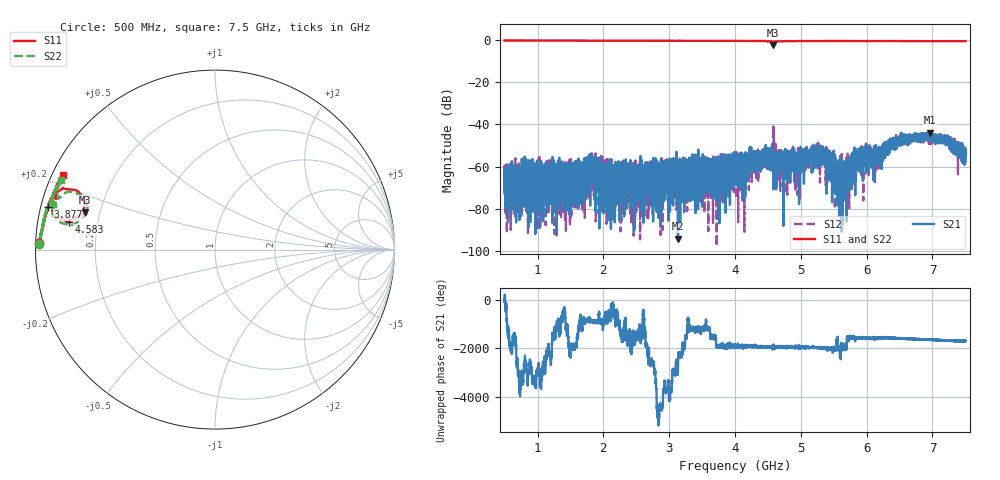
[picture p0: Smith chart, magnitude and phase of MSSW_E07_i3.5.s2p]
!Keysight Technologies,M9374A,MY55442783,A.12.55.05
!Date: Thursday, May 20, 2021 17:08:04
!Correction: S11(Full 2 Port(1,2))
!S21(Full 2 Port(1,2))
!S12(Full 2 Port(1,2))
!S22(Full 2 Port(1,2))
!S2P File: Measurements: S11, S21, S12, S22:
# Hz S  RI  R 50
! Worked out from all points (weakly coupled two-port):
!   7001 points, 500 MHz to 7.5 GHz, reference 50 ohm
!   highest |S21| = -43.89 dB at 6.956 GHz (marker M1); lowest = -94.3 dB at 3.134 GHz (marker M2)
!   lowest |S11| = -2.4 dB at 4.574 GHz (marker M3), VSWR 7.14, Z = 7.14 + j6.92 ohm
!   |S11| at or under -10 dB: nowhere
!   |S22| runs from -2.6 to -0.2 dB; largest |S21 - S12| = 0.0087
!   S11 on the Smith chart (normalised r, x): 500 MHz: 0.01, +0.02; 3.877 GHz: 0.02, +0.13; 4.583 GHz: 0.09, +0.09; 7.5 GHz: 0.03, +0.23
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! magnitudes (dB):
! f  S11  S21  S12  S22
! 500 MHz  -0.2  -66.9  -64.9  -0.2
! 1.667 GHz  -0.3  -60.9  -62.9  -0.3
! 1.834 GHz  -0.3  -59.3  -62.6  -0.3
! 2.027 GHz  -0.3  -68.5  -62.9  -0.3
! 2.158 GHz  -0.3  -63.1  -69.8  -0.3
! 2.834 GHz  -0.3  -84.4  -67.5  -0.3
! 3.134 GHz  -0.3  -94.3  -64.1  -0.3
! 3.877 GHz  -0.4  -60.6  -64.9  -0.3
! 4 GHz  -0.4  -64.7  -62.8  -0.4
! 4.479 GHz  -0.5  -58.1  -55.3  -0.5
! 4.574 GHz  -2.4  -56.7  -56.9  -2.6
! 4.583 GHz  -1.6  -65.4  -44.8  -1.7
! 4.712 GHz  -0.6  -54.1  -56.8  -0.8
! 5.167 GHz  -0.4  -55.3  -52.7  -0.5
! 5.393 GHz  -0.4  -58.5  -55.3  -0.5
! 5.569 GHz  -0.4  -69.7  -70.7  -0.4
! 5.659 GHz  -0.4  -63.4  -62.7  -0.5
! 5.872 GHz  -0.5  -59.0  -55.6  -0.5
! 6.13 GHz  -0.4  -55.3  -59.2  -0.4
! 6.334 GHz  -0.5  -47.6  -47.4  -0.5
! 6.956 GHz  -0.5  -43.9  -46.6  -0.5
! 7.5 GHz  -0.5  -53.5  -56.0  -0.5
